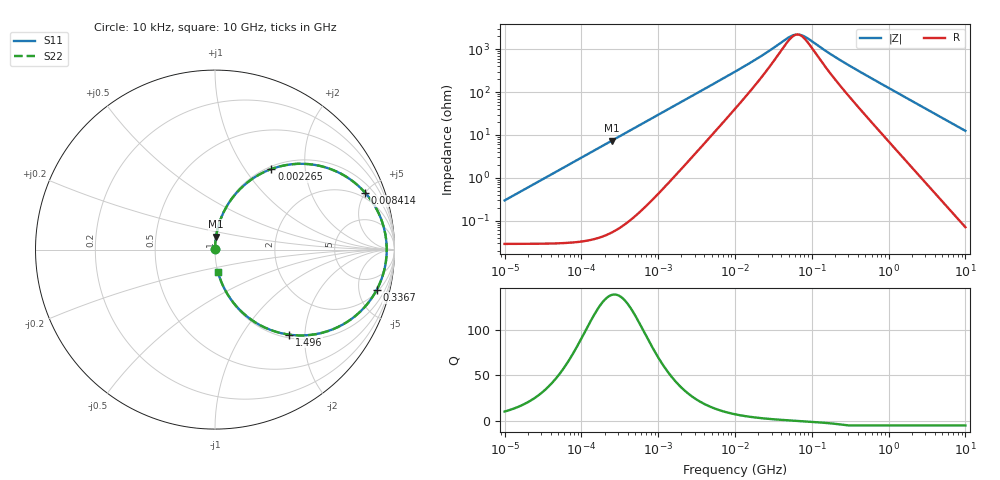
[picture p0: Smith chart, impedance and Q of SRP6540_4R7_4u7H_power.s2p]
! Touchstone 2-port S-parameters  (series-through model)
! Part: SRP6540_4R7_4u7H_power
! Generated: 2026-06-14 12:05 UTC  by s2p tool
! Reference impedance: 50.0 Ohm
! Cp estimated from SRF: 1.276 pF (SRF=65.0 MHz) [PHYSICS ESTIMATE]
! Rp (core loss) from Q=30 @ 2.5 MHz: 2.2 kOhm [DATASHEET FIT]
! ESTIMATED / behavioral model - NOT manufacturer-measured data.
# Hz S RI R 50
! freq  ReS11  ImS11  ReS21  ImS21  ReS12  ImS12  ReS22  ImS22
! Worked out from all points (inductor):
!   521 points, 10 kHz to 10 GHz, reference 50 ohm
!   read as one part in series: L = 4.7 uH near 10.72 kHz
!   highest Q = 139 at 248.3 kHz (marker M1), where L = 4.7 uH
!   self-resonance near 65 MHz
!   S11 on the Smith chart (normalised r, x): 10 kHz: 1.00, +0.01; 2.265 MHz: 1.04, +1.34; 8.414 MHz: 1.57, +4.99; 336.7 MHz: 2.30, -7.47; 1.496 GHz: 1.06, -1.67; 10 GHz: 1.00, -0.25
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10000  0.000295 0.00295  0.9997 -0.00295  0.9997 -0.00295  0.000295 0.00295
101157.9  0.00122 0.0298  0.9988 -0.0298  0.9988 -0.0298  0.00122 0.0298
248313.3  0.00587 0.0729  0.9941 -0.0729  0.9941 -0.0729  0.00587 0.0729
512861.4  0.0237 0.1477  0.9763 -0.1477  0.9763 -0.1477  0.0237 0.1477
1023293  0.087 0.2747  0.913 -0.2747  0.913 -0.2747  0.087 0.2747
1548817  0.1783 0.3723  0.8217 -0.3723  0.8217 -0.3723  0.1783 0.3723
2264644  0.3146 0.4493  0.6854 -0.4493  0.6854 -0.4493  0.3146 0.4493
4073803  0.5878 0.4656  0.4122 -0.4656  0.4122 -0.4656  0.5878 0.4656
8413951  0.8368 0.3168  0.1632 -0.3168  0.1632 -0.3168  0.8368 0.3168
1e7  0.8697 0.2751  0.1303 -0.2751  0.1303 -0.2751  0.8697 0.2751
1.996679e7  0.9366 0.1376  0.0634 -0.1376  0.0634 -0.1376  0.9366 0.1376
5.67662e7  0.9566 0.013  0.0434 -0.013  0.0434 -0.013  0.9566 0.013
7.160283e7  0.9567 -0.00924  0.0433 0.00924  0.0433 0.00924  0.9567 -0.00924
1.011579e8  0.9548 -0.0435  0.0452 0.0435  0.0452 0.0435  0.9548 -0.0435
1.884075e8  0.9415 -0.1198  0.0585 0.1198  0.0585 0.1198  0.9415 -0.1198
3.366659e8  0.9011 -0.224  0.0989 0.224  0.0989 0.224  0.9011 -0.224
6.253262e8  0.7811 -0.3705  0.2189 0.3705  0.2189 0.3705  0.7811 -0.3705
1.023293e9  0.594 -0.4642  0.406 0.4642  0.406 0.4642  0.594 -0.4642
1.496236e9  0.4139 -0.474  0.5861 0.474  0.5861 0.474  0.4139 -0.474
2.264644e9  0.2385 -0.4139  0.7615 0.4139  0.7615 0.4139  0.2385 -0.4139
3.427678e9  0.121 -0.3181  0.879 0.3181  0.879 0.3181  0.121 -0.3181
1e10  0.016 -0.1227  0.984 0.1227  0.984 0.1227  0.016 -0.1227
